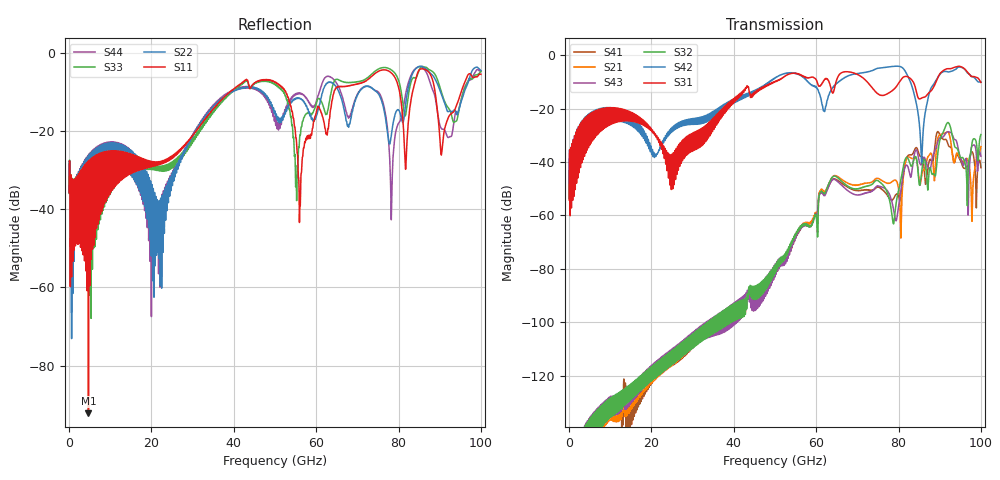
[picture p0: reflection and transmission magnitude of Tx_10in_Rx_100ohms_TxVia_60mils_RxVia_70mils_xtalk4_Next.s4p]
! Info: Touchstone file created by Circ.  Input file=Tx_10in_Rx_100ohms_TxVia_60mils_RxVia_70mils.circ
# Hz S RI R 50
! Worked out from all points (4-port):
!   10000 points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, 10 MHz to 100 GHz, reference 50 ohm
!   strongest paths, dB at 10 MHz, 25.01 GHz, 50.01 GHz, 75.01 GHz, 100 GHz:
!     S31: -54.2, -37.1, -9.9, -14.5, -10.2
!     S42: -53.7, -27.6, -8.6, -4.9, -10.0
!     S32: -194.7, -113.7, -80.9, -47.0, -29.7
!     S43: -159.2, -113.9, -81.2, -48.9, -37.8
!     S21: -195.8, -113.1, -81.2, -46.1, -34.2
!     S41: -161.0, -113.7, -81.8, -49.3, -42.1
!   lowest |S11| = -92.2 dB at 4.71 GHz (marker M1), VSWR 1.00, Z = 50 + j0.00194 ohm
!   |S11| at or under -10 dB: start of sweep to 39.1 GHz; 52.62 GHz to 64.34 GHz (11.73 GHz wide, 20.1 % of centre); 88.87 GHz to 95.21 GHz (6.337 GHz wide, 6.88 % of centre)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
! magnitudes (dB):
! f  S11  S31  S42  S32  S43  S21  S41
! 10 MHz  -35.7  -54.2  -53.7  -194.7  -159.2  -195.8  -161.0
! 4.71 GHz  -92.2  -34.6  -30.8  -139.0  -138.5  -140.2  -139.6
! 49.55 GHz  -7.2  -10.3  -9.1  -80.6  -81.1  -81.2  -82.0
! 56.06 GHz  -37.8  -7.3  -7.5  -65.0  -65.5  -64.9  -65.6
! 78.28 GHz  -5.2  -13.5  -4.3  -58.4  -54.2  -47.6  -54.4
! 85.59 GHz  -4.1  -16.1  -40.2  -44.0  -40.9  -45.4  -37.9
! 100 GHz  -5.5  -10.2  -10.0  -29.7  -37.8  -34.2  -42.1
